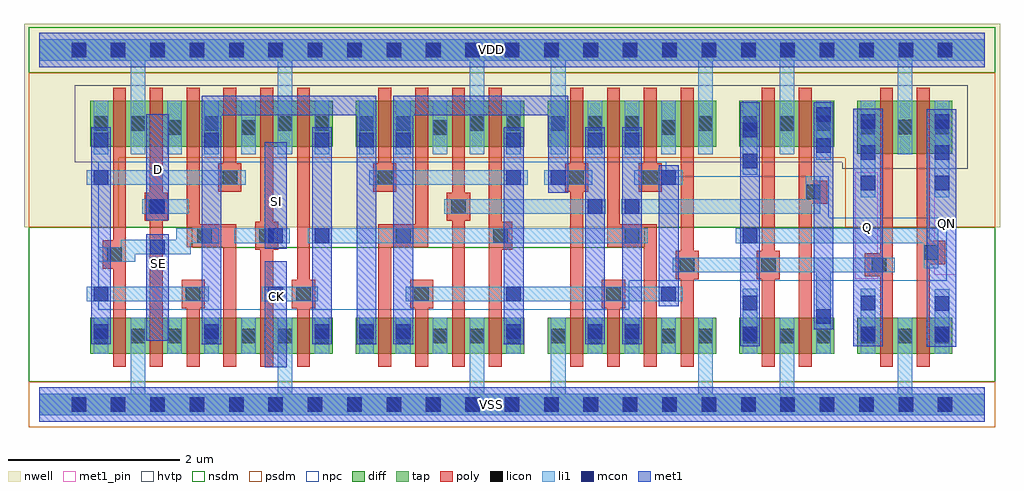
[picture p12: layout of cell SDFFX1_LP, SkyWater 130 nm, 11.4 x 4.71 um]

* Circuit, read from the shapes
.subckt SDFFX1_LP CK D Q QN SE SI VDD VSS
XM1 VSS SE n1 VSS sky130_fd_pr__nfet_01v8 w=0.42 l=0.15
XM2 n2 D VSS VSS sky130_fd_pr__nfet_01v8 w=0.42 l=0.15
XM3 n3 n1 n2 VSS sky130_fd_pr__nfet_01v8 w=0.42 l=0.15
XM4 n4 SE n3 VSS sky130_fd_pr__nfet_01v8 w=0.42 l=0.15
XM5 VSS SI n4 VSS sky130_fd_pr__nfet_01v8 w=0.42 l=0.15
XM6 n5 CK VSS VSS sky130_fd_pr__nfet_01v8 w=0.42 l=0.15
XM7 n6 n5 n3 VSS sky130_fd_pr__nfet_01v8 w=0.42 l=0.15
XM8 n7 n8 n6 VSS sky130_fd_pr__nfet_01v8 w=0.42 l=0.15
XM9 VSS n9 n7 VSS sky130_fd_pr__nfet_01v8 w=0.42 l=0.15
XM10 n8 n5 VSS VSS sky130_fd_pr__nfet_01v8 w=0.42 l=0.15
XM11 n9 n6 VSS VSS sky130_fd_pr__nfet_01v8 w=0.42 l=0.15
XM12 n10 n8 n9 VSS sky130_fd_pr__nfet_01v8 w=0.42 l=0.15
XM13 n11 n5 n10 VSS sky130_fd_pr__nfet_01v8 w=0.42 l=0.15
XM14 VSS n12 n11 VSS sky130_fd_pr__nfet_01v8 w=0.42 l=0.15
XM15 VSS n12 n13 VSS sky130_fd_pr__nfet_01v8 w=0.42 l=0.15
XM16 n12 n10 VSS VSS sky130_fd_pr__nfet_01v8 w=0.42 l=0.15
XM17 VSS n12 Q VSS sky130_fd_pr__nfet_01v8 w=0.42 l=0.15
XM18 QN n13 VSS VSS sky130_fd_pr__nfet_01v8 w=0.42 l=0.15
XM19 VDD SE n1 VDD sky130_fd_pr__pfet_01v8_hvt w=0.54 l=0.15
XM20 n14 D VDD VDD sky130_fd_pr__pfet_01v8_hvt w=0.54 l=0.15
XM21 n3 SE n14 VDD sky130_fd_pr__pfet_01v8_hvt w=0.54 l=0.15
XM22 n15 n1 n3 VDD sky130_fd_pr__pfet_01v8_hvt w=0.54 l=0.15
XM23 VDD SI n15 VDD sky130_fd_pr__pfet_01v8_hvt w=0.54 l=0.15
XM24 n5 CK VDD VDD sky130_fd_pr__pfet_01v8_hvt w=0.54 l=0.15
XM25 n6 n8 n3 VDD sky130_fd_pr__pfet_01v8_hvt w=0.54 l=0.15
XM26 n16 n5 n6 VDD sky130_fd_pr__pfet_01v8_hvt w=0.54 l=0.15
XM27 VDD n9 n16 VDD sky130_fd_pr__pfet_01v8_hvt w=0.54 l=0.15
XM28 n8 n5 VDD VDD sky130_fd_pr__pfet_01v8_hvt w=0.54 l=0.15
XM29 n9 n6 VDD VDD sky130_fd_pr__pfet_01v8_hvt w=0.54 l=0.15
XM30 n10 n5 n9 VDD sky130_fd_pr__pfet_01v8_hvt w=0.54 l=0.15
XM31 n17 n8 n10 VDD sky130_fd_pr__pfet_01v8_hvt w=0.54 l=0.15
XM32 VDD n12 n17 VDD sky130_fd_pr__pfet_01v8_hvt w=0.54 l=0.15
XM33 VDD n12 n13 VDD sky130_fd_pr__pfet_01v8_hvt w=0.54 l=0.15
XM34 n12 n10 VDD VDD sky130_fd_pr__pfet_01v8_hvt w=0.54 l=0.15
XM35 VDD n12 Q VDD sky130_fd_pr__pfet_01v8_hvt w=0.62 l=0.15
XM36 QN n13 VDD VDD sky130_fd_pr__pfet_01v8_hvt w=0.62 l=0.15
.ends

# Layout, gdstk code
from math import pi, radians
import gdstk
lib = gdstk.Library(unit=1e-6, precision=1e-09)
def R(c, l, rs):  # rectangles x0, y0, x1, y1
    for r in rs: c.add(gdstk.rectangle(r[:2], r[2:], *l))
def A(c, l, x, y, w, h, nx, ny, dx, dy):  # array of equal rectangles
    R(c, l, [(x+i*dx, y+j*dy, x+i*dx+w, y+j*dy+h) for i in range(nx) for j in range(ny)])
def P(c, l, *ps):  # polygons
    for p in ps: c.add(gdstk.Polygon(p, *l))
nwell = (64, 20)
diff = (65, 20)
tap = (65, 44)
poly = (66, 20)
licon = (66, 44)
li1 = (67, 20)
mcon = (67, 44)
met1_pin = (68, 16)
met1 = (68, 20)
hvtp = (78, 44)
nsdm = (93, 44)
psdm = (94, 20)
npc = (95, 20)

pyl1con_c_cdns_758729379 = lib.new_cell('PYL1CON_C_CDNS_758729379653')
R(pyl1con_c_cdns_758729379, poly, [(-0.135,-0.165,0.135,0.165)])
R(pyl1con_c_cdns_758729379, licon, [(-0.085,-0.085,0.085,0.085)])
R(pyl1con_c_cdns_758729379, npc, [(-0.185,-0.185,0.185,0.185)])

l1m1_c_cdns_758729379651 = lib.new_cell('L1M1_C_CDNS_7587293796510')
R(l1m1_c_cdns_758729379651, li1, [(-0.085,-0.525,0.085,0.525)])
A(l1m1_c_cdns_758729379651, mcon, -0.085, -0.445, 0.17, 0.17, 1, 3, 0, 0.36)
R(l1m1_c_cdns_758729379651, met1, [(-0.115,-0.505,0.115,0.505)])

l1m1_c_cdns_758729379655 = lib.new_cell('L1M1_C_CDNS_758729379655')
R(l1m1_c_cdns_758729379655, li1, [(-0.085,-0.165,0.085,0.165)])
R(l1m1_c_cdns_758729379655, mcon, [(-0.085,-0.085,0.085,0.085)])
R(l1m1_c_cdns_758729379655, met1, [(-0.115,-0.145,0.115,0.145)])

l1m1_c_cdns_758729379659 = lib.new_cell('L1M1_C_CDNS_758729379659')
R(l1m1_c_cdns_758729379659, li1, [(-0.085,-0.345,0.085,0.345)])
R(l1m1_c_cdns_758729379659, mcon, [(-0.085,-0.265,0.085,-0.095), (-0.085,0.095,0.085,0.265)])
R(l1m1_c_cdns_758729379659, met1, [(-0.115,-0.325,0.115,0.325)])

l1m1_c_cdns_758729379654 = lib.new_cell('L1M1_C_CDNS_758729379654')
R(l1m1_c_cdns_758729379654, li1, [(-0.165,-0.085,0.165,0.085)])
R(l1m1_c_cdns_758729379654, mcon, [(-0.085,-0.085,0.085,0.085)])
R(l1m1_c_cdns_758729379654, met1, [(-0.115,-0.145,0.115,0.145)])

licondiff_c_cdns_7587293 = lib.new_cell('LICONDIFF_C_CDNS_758729379657')
R(licondiff_c_cdns_7587293, diff, [(-0.125,-0.145,0.125,0.145)])
R(licondiff_c_cdns_7587293, licon, [(-0.085,-0.085,0.085,0.085), (-0.085,-0.085,0.085,0.085)])

c_pyl1con_c_cdns_758729379 = lib.new_cell('PYL1CON_C_CDNS_7587293796516')
R(c_pyl1con_c_cdns_758729379, poly, [(-0.135,-0.29,0.135,0.29)])
R(c_pyl1con_c_cdns_758729379, licon, [(-0.085,-0.085,0.085,0.085)])
R(c_pyl1con_c_cdns_758729379, npc, [(-0.185,-0.185,0.185,0.185)])

c_l1m1_c_cdns_758729379651 = lib.new_cell('L1M1_C_CDNS_7587293796519')
R(c_l1m1_c_cdns_758729379651, li1, [(-0.125,-0.085,0.125,0.085)])
R(c_l1m1_c_cdns_758729379651, mcon, [(-0.085,-0.085,0.085,0.085)])
R(c_l1m1_c_cdns_758729379651, met1, [(-0.115,-0.145,0.115,0.145)])

c_pyl1con_c_cdns_758729379_ = lib.new_cell('PYL1CON_C_CDNS_7587293796520')
R(c_pyl1con_c_cdns_758729379_, poly, [(-0.135,-0.37,0.135,0.21)])
R(c_pyl1con_c_cdns_758729379_, licon, [(-0.085,-0.085,0.085,0.085)])
R(c_pyl1con_c_cdns_758729379_, npc, [(-0.185,-0.185,0.185,0.185)])

sdffx1_lp = lib.new_cell('SDFFX1_LP')
R(sdffx1_lp, nwell, [(-0.18,2.07,11.22,4.445)])
R(sdffx1_lp, diff, [(0.595,0.59,3.425,1.01), (3.695,0.59,5.665,1.01), (5.935,0.59,7.905,1.01), (8.175,0.59,9.285,1.01), (9.555,0.59,10.665,1.01), (9.555,2.93,10.665,3.55), (0.595,3.01,3.425,3.55), (3.695,3.01,5.665,3.55), (5.935,3.01,7.905,3.55), (8.175,3.01,9.285,3.55)])
R(sdffx1_lp, poly, [(0.86,0.44,1.01,3.7), (1.29,0.44,1.44,3.7), (1.72,0.44,1.87,1.16), (2.58,0.44,2.73,3.7), (3.01,0.44,3.16,3.7), (4.39,0.44,4.54,1.16), (4.82,0.44,4.97,3.7), (5.25,0.44,5.4,3.7), (6.2,0.44,6.35,3.7), (6.63,0.44,6.78,1.16), (7.49,0.44,7.64,3.7), (8.44,0.44,8.59,3.7), (8.87,0.44,9.02,3.7), (9.82,0.44,9.97,3.7), (10.25,0.44,10.4,3.7), (2.15,2.65,2.3,3.7), (3.96,2.65,4.11,3.7), (7.06,2.65,7.21,3.7)])
P(sdffx1_lp, poly, [(2.3,2.045),(1.87,2.045),(1.87,3.7),(1.72,3.7),(1.72,1.895),(2.15,1.895),(2.15,0.44),(2.3,0.44)],
  [(4.54,3.7),(4.39,3.7),(4.39,2.045),(3.96,2.045),(3.96,0.44),(4.11,0.44),(4.11,1.895),(4.54,1.895)],
  [(7.21,2.045),(6.78,2.045),(6.78,3.7),(6.63,3.7),(6.63,1.895),(7.06,1.895),(7.06,0.44),(7.21,0.44)])
A(sdffx1_lp, licon, 0.375, -0.085, 0.17, 0.17, 23, 2, 0.46, 4.14)
A(sdffx1_lp, licon, 1.065, 0.715, 0.17, 0.17, 3, 2, 0.86, 2.48)
A(sdffx1_lp, licon, 5.975, 0.715, 0.17, 0.17, 3, 2, 0.43, 2.48)
A(sdffx1_lp, licon, 8.215, 0.715, 0.17, 0.17, 3, 2, 0.43, 2.48)
A(sdffx1_lp, licon, 9.595, 0.715, 0.17, 0.17, 3, 2, 0.43, 2.44)
R(sdffx1_lp, licon, [(0.635,0.715,0.805,0.885), (3.215,0.715,3.385,0.885), (3.735,0.715,3.905,0.885), (4.165,0.715,4.335,0.885), (5.025,0.715,5.195,0.885), (5.455,0.715,5.625,0.885), (7.695,0.715,7.865,0.885), (0.635,3.195,0.805,3.365), (3.215,3.195,3.385,3.365), (3.735,3.195,3.905,3.365), (4.165,3.195,4.335,3.365), (5.025,3.195,5.195,3.365), (5.455,3.195,5.625,3.365), (7.695,3.195,7.865,3.365)])
A(sdffx1_lp, li1, 0.635, 0.59, 0.17, 0.42, 3, 1, 1.29, 0)
A(sdffx1_lp, li1, 6.835, 0.59, 0.17, 0.42, 3, 1, 1.38, 0)
A(sdffx1_lp, li1, 0.635, 3.01, 0.17, 0.54, 3, 1, 1.29, 0)
R(sdffx1_lp, li1, [(3.735,0.59,3.905,1.01), (4.165,0.59,4.335,1.01), (5.455,0.59,5.625,1.01), (6.405,0.59,6.575,1.01), (10.455,0.59,10.625,1.01), (9.595,2.93,9.765,3.55), (10.455,2.93,10.625,3.55), (3.735,3.01,3.905,3.55), (4.165,3.01,4.335,3.55), (5.455,3.01,5.625,3.55), (6.405,3.01,6.575,3.55), (6.835,3.01,7.005,3.55), (8.215,3.01,8.385,3.55), (9.075,3.01,9.245,3.55)])
P(sdffx1_lp, li1, [(9.99,1.715),(7.4,1.715),(7.4,1.545),(9.075,1.545),(9.075,0.59),(9.245,0.59),(9.245,1.545),(9.99,1.545)],
  [(11.04,4.265),(0,4.265),(0,4.015),(1.065,4.015),(1.065,2.925),(1.235,2.925),(1.235,4.015),(2.785,4.015),(2.785,2.925),(2.955,2.925),(2.955,4.015),(5.025,4.015),(5.025,2.925),(5.195,2.925),(5.195,4.015),(5.975,4.015),(5.975,2.925),(6.145,2.925),(6.145,4.015),(7.695,4.015),(7.695,2.925),(7.865,2.925),(7.865,4.015),(8.645,4.015),(8.645,2.925),(8.815,2.925),(8.815,4.015),(10.025,4.015),(10.025,2.925),(10.195,2.925),(10.195,4.015),(11.04,4.015)],
  [(11.04,0.125),(10.195,0.125),(10.195,1.015),(10.025,1.015),(10.025,0.125),(8.815,0.125),(8.815,1.015),(8.645,1.015),(8.645,0.125),(7.865,0.125),(7.865,1.015),(7.695,1.015),(7.695,0.125),(6.145,0.125),(6.145,1.015),(5.975,1.015),(5.975,0.125),(5.195,0.125),(5.195,1.015),(5.025,1.015),(5.025,0.125),(2.955,0.125),(2.955,1.015),(2.785,1.015),(2.785,0.125),(1.235,0.125),(1.235,1.015),(1.065,1.015),(1.065,0.125),(0,0.125),(0,-0.125),(11.04,-0.125)])
A(sdffx1_lp, mcon, 0.375, -0.085, 0.17, 0.17, 23, 2, 0.46, 4.14)
R(sdffx1_lp, met1_pin, [(2.63,0.435,2.89,1.675), (1.25,0.745,1.51,1.985), (9.53,1.47,9.79,2.71), (10.45,1.515,10.71,2.755), (2.63,1.82,2.89,3.06), (1.25,2.15,1.51,3.39)])
R(sdffx1_lp, met1, [(10.365,0.675,10.71,3.45), (9.505,0.68,9.85,3.455)])
P(sdffx1_lp, hvtp, [(10.845,3.73),(0.415,3.73),(0.415,2.83),(9.375,2.83),(9.375,2.75),(10.845,2.75)])
R(sdffx1_lp, nsdm, [(-0.125,3.875,11.165,4.405)])
P(sdffx1_lp, nsdm, [(11.165,2.07),(7.065,2.07),(7.065,1.835),(1.785,1.835),(1.785,2.07),(-0.125,2.07),(-0.125,0.265),(11.165,0.265)])
R(sdffx1_lp, psdm, [(-0.125,-0.265,11.165,0.265)])
P(sdffx1_lp, psdm, [(11.165,3.875),(-0.125,3.875),(-0.125,2.07),(0.925,2.07),(0.925,2.88),(9.415,2.88),(9.415,2.07),(11.165,2.07)])
P(sdffx1_lp, npc, [(10.6,2.18),(9.22,2.18),(9.22,2.665),(7.32,2.665),(7.32,2.835),(0.69,2.835),(0.69,1.105),(6.89,1.105),(6.89,1.445),(10.6,1.445)])
sdffx1_lp.add(gdstk.FlexPath([(9.035,2.665),(9.035,2.31),(6.795,2.31)], 0.17, ends="flush", simple_path=True, layer=67, datatype=20))  # li1
sdffx1_lp.add(gdstk.FlexPath([(5.895,2.65),(6.46,2.65)], 0.17, ends="flush", simple_path=True, layer=67, datatype=20))  # li1
sdffx1_lp.add(gdstk.FlexPath([(3.85,2.65),(5.705,2.65)], 0.17, ends="flush", simple_path=True, layer=67, datatype=20))  # li1
sdffx1_lp.add(gdstk.FlexPath([(6.615,2.31),(4.73,2.31)], 0.17, ends="flush", simple_path=True, layer=67, datatype=20))  # li1
sdffx1_lp.add(gdstk.FlexPath([(0.555,1.29),(1.98,1.29)], 0.17, ends="flush", simple_path=True, layer=67, datatype=20))  # li1
sdffx1_lp.add(gdstk.FlexPath([(4.68,2.925),(4.68,3.55)], 0.17, ends="flush", simple_path=True, layer=67, datatype=20))  # li1
sdffx1_lp.add(gdstk.FlexPath([(4.68,0.59),(4.68,1.015)], 0.17, ends="flush", simple_path=True, layer=67, datatype=20))  # li1
sdffx1_lp.add(gdstk.FlexPath([(2.82,1.97),(2.275,1.97)], 0.17, ends="flush", simple_path=True, layer=67, datatype=20))  # li1
sdffx1_lp.add(gdstk.FlexPath([(3.25,1.29),(2.705,1.29)], 0.17, ends="flush", simple_path=True, layer=67, datatype=20))  # li1
sdffx1_lp.add(gdstk.FlexPath([(3.135,1.97),(7.105,1.97)], 0.17, ends="flush", simple_path=True, layer=67, datatype=20))  # li1
sdffx1_lp.add(gdstk.FlexPath([(0.69,1.75),(1.035,1.75),(1.035,1.84),(1.685,1.84),(1.685,1.97),(2.095,1.97)], 0.17, ends="flush", simple_path=True, layer=67, datatype=20))  # li1
sdffx1_lp.add(gdstk.FlexPath([(7.35,0.59),(7.35,1.015)], 0.17, ends="flush", simple_path=True, layer=67, datatype=20))  # li1
sdffx1_lp.add(gdstk.FlexPath([(7.35,2.925),(7.35,3.55)], 0.17, ends="flush", simple_path=True, layer=67, datatype=20))  # li1
sdffx1_lp.add(gdstk.FlexPath([(6.95,2.65),(7.515,2.65)], 0.17, ends="flush", simple_path=True, layer=67, datatype=20))  # li1
sdffx1_lp.add(gdstk.FlexPath([(0.555,2.65),(2.41,2.65)], 0.17, ends="flush", simple_path=True, layer=67, datatype=20))  # li1
sdffx1_lp.add(gdstk.FlexPath([(1.58,2.925),(1.58,3.55)], 0.17, ends="flush", simple_path=True, layer=67, datatype=20))  # li1
sdffx1_lp.add(gdstk.FlexPath([(2.44,2.925),(2.44,3.55)], 0.17, ends="flush", simple_path=True, layer=67, datatype=20))  # li1
sdffx1_lp.add(gdstk.FlexPath([(4.28,1.29),(7.515,1.29)], 0.17, ends="flush", simple_path=True, layer=67, datatype=20))  # li1
sdffx1_lp.add(gdstk.FlexPath([(10.415,1.59),(10.415,1.97),(8.3,1.97)], 0.17, ends="flush", simple_path=True, layer=67, datatype=20))  # li1
sdffx1_lp.add(gdstk.FlexPath([(1.58,0.59),(1.58,1.015)], 0.17, ends="flush", simple_path=True, layer=67, datatype=20))  # li1
sdffx1_lp.add(gdstk.FlexPath([(2.44,0.59),(2.44,1.015)], 0.17, ends="flush", simple_path=True, layer=67, datatype=20))  # li1
sdffx1_lp.add(gdstk.FlexPath([(1.745,2.31),(1.2,2.31)], 0.17, ends="flush", simple_path=True, layer=67, datatype=20))  # li1
sdffx1_lp.add(gdstk.FlexPath([(0,4.14),(11.04,4.14)], 0.4, ends="flush", simple_path=True, layer=68, datatype=20))  # met1
sdffx1_lp.add(gdstk.FlexPath([(0,0),(11.04,0)], 0.4, ends="flush", simple_path=True, layer=68, datatype=20))  # met1
sdffx1_lp.add(gdstk.FlexPath([(7.35,1.145),(7.35,2.795)], 0.23, ends="flush", simple_path=True, layer=68, datatype=20))  # met1
sdffx1_lp.add(gdstk.FlexPath([(2.01,0.705),(2.01,3.49),(3.82,3.49),(3.82,0.705)], 0.23, ends="flush", simple_path=True, layer=68, datatype=20))  # met1
sdffx1_lp.add(gdstk.FlexPath([(6.06,2.475),(6.06,3.49),(4.25,3.49),(4.25,0.705)], 0.23, ends="flush", simple_path=True, layer=68, datatype=20))  # met1
sdffx1_lp.add(gdstk.FlexPath([(0.72,0.705),(0.72,3.235)], 0.23, ends="flush", simple_path=True, layer=68, datatype=20))  # met1
sdffx1_lp.add(gdstk.FlexPath([(5.54,0.705),(5.54,3.235)], 0.23, ends="flush", simple_path=True, layer=68, datatype=20))  # met1
sdffx1_lp.add(gdstk.FlexPath([(3.3,0.705),(3.3,3.235)], 0.23, ends="flush", simple_path=True, layer=68, datatype=20))  # met1
sdffx1_lp.add(gdstk.FlexPath([(2.76,0.435),(2.76,1.675)], 0.26, ends="flush", simple_path=True, layer=68, datatype=20))  # met1
sdffx1_lp.add(gdstk.FlexPath([(2.76,1.82),(2.76,3.06)], 0.26, ends="flush", simple_path=True, layer=68, datatype=20))  # met1
sdffx1_lp.add(gdstk.FlexPath([(6.92,0.705),(6.92,3.235)], 0.23, ends="flush", simple_path=True, layer=68, datatype=20))  # met1
sdffx1_lp.add(gdstk.FlexPath([(8.3,0.68),(8.3,3.53)], 0.23, ends="flush", simple_path=True, layer=68, datatype=20))  # met1
sdffx1_lp.add(gdstk.FlexPath([(9.16,0.88),(9.16,3.53)], 0.23, ends="flush", simple_path=True, layer=68, datatype=20))  # met1
sdffx1_lp.add(gdstk.FlexPath([(1.38,2.15),(1.38,3.39)], 0.26, ends="flush", simple_path=True, layer=68, datatype=20))  # met1
sdffx1_lp.add(gdstk.FlexPath([(1.38,0.745),(1.38,1.985)], 0.26, ends="flush", simple_path=True, layer=68, datatype=20))  # met1
sdffx1_lp.add(gdstk.FlexPath([(6.49,0.705),(6.49,3.235)], 0.23, ends="flush", simple_path=True, layer=68, datatype=20))  # met1
sdffx1_lp.add(gdstk.FlexPath([(0,0),(11.04,0)], 0.4, ends="flush", simple_path=True, layer=68, datatype=16))  # met1_pin
sdffx1_lp.add(gdstk.FlexPath([(0,4.14),(11.04,4.14)], 0.4, ends="flush", simple_path=True, layer=68, datatype=16))  # met1_pin
sdffx1_lp.add(gdstk.FlexPath([(0,4.14),(11.04,4.14)], 0.25, ends="flush", simple_path=True, layer=65, datatype=44))  # tap
sdffx1_lp.add(gdstk.FlexPath([(0,0),(11.04,0)], 0.25, ends="flush", simple_path=True, layer=65, datatype=44))  # tap
sdffx1_lp.add(gdstk.Reference(pyl1con_c_cdns_758729379, (6.275,2.65), rotation=pi))
sdffx1_lp.add(gdstk.Reference(pyl1con_c_cdns_758729379, (8.515,1.63), rotation=pi, x_reflection=True))
sdffx1_lp.add(gdstk.Reference(pyl1con_c_cdns_758729379, (7.565,1.63), rotation=pi, x_reflection=True))
sdffx1_lp.add(gdstk.Reference(pyl1con_c_cdns_758729379, (5.385,1.97), rotation=pi))
sdffx1_lp.add(gdstk.Reference(pyl1con_c_cdns_758729379, (3.085,1.29), x_reflection=True))
sdffx1_lp.add(gdstk.Reference(pyl1con_c_cdns_758729379, (2.655,1.97), x_reflection=True))
sdffx1_lp.add(gdstk.Reference(pyl1con_c_cdns_758729379, (2.225,2.65), rotation=pi))
sdffx1_lp.add(gdstk.Reference(pyl1con_c_cdns_758729379, (1.795,1.29), x_reflection=True))
sdffx1_lp.add(gdstk.Reference(pyl1con_c_cdns_758729379, (4.465,1.29), rotation=pi))
sdffx1_lp.add(gdstk.Reference(pyl1con_c_cdns_758729379, (4.035,2.65), x_reflection=True))
sdffx1_lp.add(gdstk.Reference(pyl1con_c_cdns_758729379, (7.135,2.65), rotation=pi))
sdffx1_lp.add(gdstk.Reference(pyl1con_c_cdns_758729379, (6.705,1.29), x_reflection=True))
sdffx1_lp.add(gdstk.Reference(pyl1con_c_cdns_758729379, (10.415,1.775), rotation=3*pi/2, x_reflection=True))
sdffx1_lp.add(gdstk.Reference(pyl1con_c_cdns_758729379, (0.875,1.75)))
sdffx1_lp.add(gdstk.Reference(pyl1con_c_cdns_758729379, (4.895,2.31)))
sdffx1_lp.add(gdstk.Reference(pyl1con_c_cdns_758729379, (9.035,2.48), rotation=pi/2, x_reflection=True))
sdffx1_lp.add(gdstk.Reference(pyl1con_c_cdns_758729379, (1.365,2.31)))
sdffx1_lp.add(gdstk.Reference(pyl1con_c_cdns_758729379, (9.805,1.63), rotation=3*pi/2, x_reflection=True))
sdffx1_lp.add(gdstk.Reference(l1m1_c_cdns_758729379651, (10.54,2.945)))
sdffx1_lp.add(gdstk.Reference(l1m1_c_cdns_758729379651, (9.68,2.945)))
sdffx1_lp.add(gdstk.Reference(l1m1_c_cdns_758729379655, (3.82,3.09)))
sdffx1_lp.add(gdstk.Reference(l1m1_c_cdns_758729379655, (3.82,0.85)))
sdffx1_lp.add(gdstk.Reference(l1m1_c_cdns_758729379655, (2.01,3.09)))
sdffx1_lp.add(gdstk.Reference(l1m1_c_cdns_758729379655, (2.01,0.85)))
sdffx1_lp.add(gdstk.Reference(l1m1_c_cdns_758729379655, (0.72,3.09)))
sdffx1_lp.add(gdstk.Reference(l1m1_c_cdns_758729379655, (0.72,0.85)))
sdffx1_lp.add(gdstk.Reference(l1m1_c_cdns_758729379655, (5.54,0.85), rotation=pi, x_reflection=True))
sdffx1_lp.add(gdstk.Reference(l1m1_c_cdns_758729379655, (5.54,3.09), rotation=pi, x_reflection=True))
sdffx1_lp.add(gdstk.Reference(l1m1_c_cdns_758729379655, (3.3,0.85)))
sdffx1_lp.add(gdstk.Reference(l1m1_c_cdns_758729379655, (3.3,3.09)))
sdffx1_lp.add(gdstk.Reference(l1m1_c_cdns_758729379655, (4.25,3.09)))
sdffx1_lp.add(gdstk.Reference(l1m1_c_cdns_758729379655, (4.25,0.85)))
sdffx1_lp.add(gdstk.Reference(l1m1_c_cdns_758729379655, (6.49,0.85)))
sdffx1_lp.add(gdstk.Reference(l1m1_c_cdns_758729379655, (6.49,3.09)))
sdffx1_lp.add(gdstk.Reference(l1m1_c_cdns_758729379655, (6.92,0.85), rotation=pi, x_reflection=True))
sdffx1_lp.add(gdstk.Reference(l1m1_c_cdns_758729379655, (6.92,3.09), rotation=pi, x_reflection=True))
sdffx1_lp.add(gdstk.Reference(l1m1_c_cdns_758729379655, (9.16,1.025), rotation=pi, x_reflection=True))
sdffx1_lp.add(gdstk.Reference(l1m1_c_cdns_758729379659, (9.16,3.205), rotation=pi, x_reflection=True))
sdffx1_lp.add(gdstk.Reference(l1m1_c_cdns_758729379659, (10.54,1)))
sdffx1_lp.add(gdstk.Reference(l1m1_c_cdns_758729379659, (9.68,1.005)))
sdffx1_lp.add(gdstk.Reference(l1m1_c_cdns_758729379659, (8.3,3.025)))
sdffx1_lp.add(gdstk.Reference(l1m1_c_cdns_758729379659, (8.3,1.005)))
sdffx1_lp.add(gdstk.Reference(l1m1_c_cdns_758729379654, (6.06,2.65)))
sdffx1_lp.add(gdstk.Reference(l1m1_c_cdns_758729379654, (7.35,2.65)))
sdffx1_lp.add(gdstk.Reference(l1m1_c_cdns_758729379654, (7.35,1.29)))
sdffx1_lp.add(gdstk.Reference(l1m1_c_cdns_758729379654, (2.76,1.29), x_reflection=True))
sdffx1_lp.add(gdstk.Reference(l1m1_c_cdns_758729379654, (2.76,1.97), x_reflection=True))
sdffx1_lp.add(gdstk.Reference(l1m1_c_cdns_758729379654, (3.3,1.97)))
sdffx1_lp.add(gdstk.Reference(l1m1_c_cdns_758729379654, (5.54,2.65), rotation=pi, x_reflection=True))
sdffx1_lp.add(gdstk.Reference(l1m1_c_cdns_758729379654, (5.54,1.29), rotation=pi, x_reflection=True))
sdffx1_lp.add(gdstk.Reference(l1m1_c_cdns_758729379654, (1.38,1.84), x_reflection=True))
sdffx1_lp.add(gdstk.Reference(l1m1_c_cdns_758729379654, (1.38,2.31), x_reflection=True))
sdffx1_lp.add(gdstk.Reference(l1m1_c_cdns_758729379654, (8.3,1.97)))
sdffx1_lp.add(gdstk.Reference(l1m1_c_cdns_758729379654, (0.72,1.29)))
sdffx1_lp.add(gdstk.Reference(l1m1_c_cdns_758729379654, (0.72,2.65)))
sdffx1_lp.add(gdstk.Reference(licondiff_c_cdns_7587293, (4.68,3.235)))
sdffx1_lp.add(gdstk.Reference(licondiff_c_cdns_7587293, (4.68,0.8)))
sdffx1_lp.add(gdstk.Reference(licondiff_c_cdns_7587293, (7.35,3.235)))
sdffx1_lp.add(gdstk.Reference(licondiff_c_cdns_7587293, (7.35,0.8)))
sdffx1_lp.add(gdstk.Reference(licondiff_c_cdns_7587293, (2.44,0.8)))
sdffx1_lp.add(gdstk.Reference(licondiff_c_cdns_7587293, (1.58,0.8)))
sdffx1_lp.add(gdstk.Reference(licondiff_c_cdns_7587293, (2.44,3.235)))
sdffx1_lp.add(gdstk.Reference(licondiff_c_cdns_7587293, (1.58,3.235)))
sdffx1_lp.add(gdstk.Reference(c_pyl1con_c_cdns_758729379, (4.25,1.97), rotation=pi/2, x_reflection=True))
sdffx1_lp.add(gdstk.Reference(c_pyl1con_c_cdns_758729379, (6.92,1.97), rotation=pi/2))
sdffx1_lp.add(gdstk.Reference(c_l1m1_c_cdns_758729379651, (6.49,2.31), rotation=pi, x_reflection=True))
sdffx1_lp.add(gdstk.Reference(c_l1m1_c_cdns_758729379651, (6.92,2.31), rotation=pi, x_reflection=True))
sdffx1_lp.add(gdstk.Reference(c_pyl1con_c_cdns_758729379_, (1.93,1.97), rotation=pi/2))
sdffx1_lp.add(gdstk.Label('Q', (9.675,2.065), layer=68, texttype=5))
sdffx1_lp.add(gdstk.Label('SE', (1.395,1.65), layer=68, texttype=5))
sdffx1_lp.add(gdstk.Label('D', (1.395,2.745), layer=68, texttype=5))
sdffx1_lp.add(gdstk.Label('CK', (2.775,1.265), layer=68, texttype=5))
sdffx1_lp.add(gdstk.Label('SI', (2.775,2.375), layer=68, texttype=5))
sdffx1_lp.add(gdstk.Label('QN', (10.595,2.11), layer=68, texttype=5))
sdffx1_lp.add(gdstk.Label('VSS', (5.285,0.005), layer=68, texttype=5))
sdffx1_lp.add(gdstk.Label('VDD', (5.285,4.145), layer=68, texttype=5))

lib.write_gds('SDFFX1_LP.gds')
